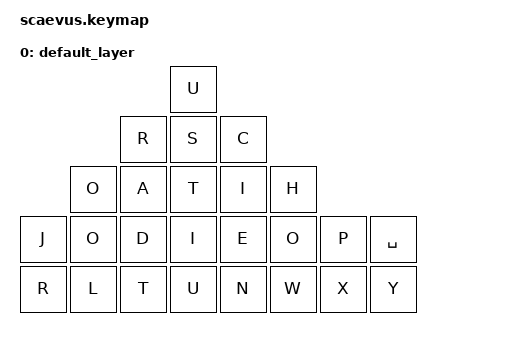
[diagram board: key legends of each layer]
#include <behaviors.dtsi>
#include <dt-bindings/zmk/keys.h>
#include <dt-bindings/zmk/bt.h>
#include <dt-bindings/zmk/outputs.h>

/ {
    keymap {
        compatible = "zmk,keymap";
        default_layer {
            bindings = < 
                                    &kp U 
                            &kp R   &kp S   &kp C 
                    &kp O   &kp A   &kp T   &kp I   &kp H
            &kp J   &kp O   &kp D   &kp I   &kp E   &kp O   &kp P   &kp SPACE
            &kp R   &kp L   &kp T   &kp U   &kp N   &kp W   &kp X   &kp Y
            >;
        };
    };
};
